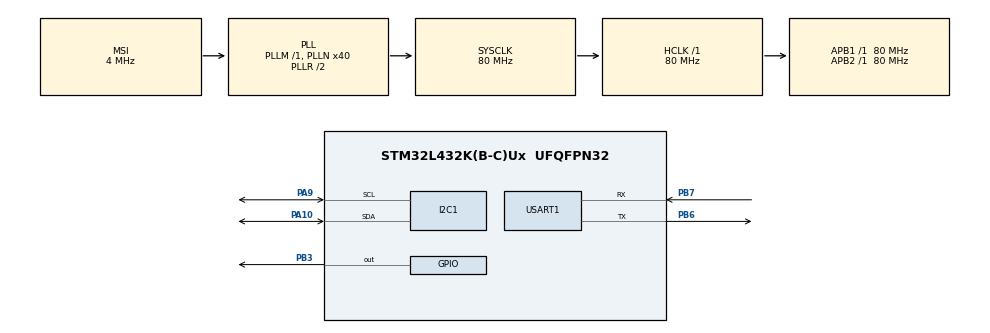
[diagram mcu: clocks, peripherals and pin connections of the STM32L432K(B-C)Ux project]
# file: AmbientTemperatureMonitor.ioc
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I2C1.Timing=0x10909CEC
Mcu.Family=STM32L4
Mcu.Name=STM32L432K(B-C)Ux
Mcu.Package=UFQFPN32
NVIC.PriorityGroup=NVIC_PRIORITYGROUP_4
PA10.Mode=I2C
PA10.Signal=I2C1_SDA
PA13\ (JTMS-SWDIO).Mode=Serial_Wire
PA13\ (JTMS-SWDIO).Signal=SYS_JTMS-SWDIO
PA14\ (JTCK-SWCLK).Mode=Serial_Wire
PA14\ (JTCK-SWCLK).Signal=SYS_JTCK-SWCLK
PA9.Mode=I2C
PA9.Signal=I2C1_SCL
PB3\ (JTDO-TRACESWO).Signal=GPIO_Output
PB6.Mode=Asynchronous
PB6.Signal=USART1_TX
PB7.Mode=Asynchronous
PB7.Signal=USART1_RX
ProjectManager.HeapSize=0x200
ProjectManager.StackSize=0x400
ProjectManager.TargetToolchain=MDK-ARM V5
RCC.AHBFreq_Value=80000000
RCC.APB1Freq_Value=80000000
RCC.APB1TimFreq_Value=80000000
RCC.APB2Freq_Value=80000000
RCC.APB2TimFreq_Value=80000000
RCC.CortexFreq_Value=80000000
RCC.HCLKFreq_Value=80000000
RCC.HSE_VALUE=8000000
RCC.HSI48_VALUE=48000000
RCC.HSI_VALUE=16000000
RCC.LSE_VALUE=32768
RCC.MSI_VALUE=4000000
RCC.PLLN=40
RCC.SYSCLKFreq_VALUE=80000000
RCC.SYSCLKSource=RCC_SYSCLKSOURCE_PLLCLK
RCC.VCOOutputFreq_Value=160000000
USART1.VirtualMode-Asynchronous=VM_ASYNC
board=custom

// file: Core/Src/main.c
/* USER CODE BEGIN Header */
/**
  ******************************************************************************
  * @file           : main.c
  * @brief          : Main program body
  ******************************************************************************
  * @attention
  *
  * <h2><center>&copy; Copyright (c) 2021 STMicroelectronics.
  * All rights reserved.</center></h2>
  *
  * This software component is licensed by ST under BSD 3-Clause license,
  * the "License"; You may not use this file except in compliance with the
  * License. You may obtain a copy of the License at:
  *                        opensource.org/licenses/BSD-3-Clause
  *
  ******************************************************************************
  */
/* USER CODE END Header */
#include "main.h"

/* USER CODE BEGIN Includes */
#include "stdlib.h"
/* USER CODE END Includes */

/* USER CODE BEGIN PTD */
/* USER CODE BEGIN PTD */
typedef struct queueNode
{
    void (*que_funcPointer)(void);
    int que_priority;
    struct queueNode* next;
} readyQueueNode;
typedef struct queue2Node
{
    void (*que_funcPointer)(void);
    int ticks;
    struct queue2Node* next;
} delayedQueueNode;
/* USER CODE END PTD */

I2C_HandleTypeDef hi2c1;

UART_HandleTypeDef huart1;

/* USER CODE BEGIN PV */
/*Queue Pointers*/
readyQueueNode ** queueHead_ptr = NULL;
readyQueueNode * queueHead = NULL;
delayedQueueNode ** delayedqueueHead_ptr = NULL;
delayedQueueNode * delayedqueueHead = NULL;
/* USER CODE END PV */

void SystemClock_Config(void);
static void MX_GPIO_Init(void);
static void MX_I2C1_Init(void);
static void MX_USART1_UART_Init(void);
/* USER CODE BEGIN PFP */
/*APIs declaration*/
void Init(void);
void QueTask(void (*funcPointer)(void),int priority);
void dispatch (void);
void ReRunMe(int tick);
/*Queue functions declaration*/
void readyQueueInsertNewTask(void (*funcPointer)(void),int priority);
void delayQueueInsertNewTask(void (*funcPointer)(void),int ticks);
void delayQueueTickDec (int ticks_counter);
/* Tasks declaration */
void Temp(void);
void TempThreshold(void);
/* USER CODE END PFP */

/* USER CODE BEGIN 0 */
/*Array of Pointers to tasks functions*/
void (*tasks_ptr[])(void)={&Temp,&TempThreshold};
uint8_t tempThreshold [3];
uint8_t buffer;
/* USER CODE END 0 */

int main(void)
{

  /* MCU Configuration--------------------------------------------------------*/

  /* Reset of all peripherals, Initializes the Flash interface and the Systick. */
  HAL_Init();

  /* Configure the system clock */
  SystemClock_Config();

  /* Initialize all configured peripherals */
  MX_GPIO_Init();
  MX_I2C1_Init();
  MX_USART1_UART_Init();
  /* USER CODE BEGIN 2 */
	Init();
  /* USER CODE END 2 */

  /* Infinite loop */
  while (1)
  {

    /* USER CODE BEGIN 3 */
		dispatch();
  }
  /* USER CODE END 3 */
}

void SystemClock_Config(void)
{
  RCC_OscInitTypeDef RCC_OscInitStruct = {0};
  RCC_ClkInitTypeDef RCC_ClkInitStruct = {0};
  RCC_PeriphCLKInitTypeDef PeriphClkInit = {0};

  /** Initializes the RCC Oscillators according to the specified parameters
  * in the RCC_OscInitTypeDef structure.
  */
  RCC_OscInitStruct.OscillatorType = RCC_OSCILLATORTYPE_MSI;
  RCC_OscInitStruct.MSIState = RCC_MSI_ON;
  RCC_OscInitStruct.MSICalibrationValue = 0;
  RCC_OscInitStruct.MSIClockRange = RCC_MSIRANGE_6;
  RCC_OscInitStruct.PLL.PLLState = RCC_PLL_ON;
  RCC_OscInitStruct.PLL.PLLSource = RCC_PLLSOURCE_MSI;
  RCC_OscInitStruct.PLL.PLLM = 1;
  RCC_OscInitStruct.PLL.PLLN = 40;
  RCC_OscInitStruct.PLL.PLLP = RCC_PLLP_DIV7;
  RCC_OscInitStruct.PLL.PLLQ = RCC_PLLQ_DIV2;
  RCC_OscInitStruct.PLL.PLLR = RCC_PLLR_DIV2;
  if (HAL_RCC_OscConfig(&RCC_OscInitStruct) != HAL_OK)
  {
    Error_Handler();
  }
  /** Initializes the CPU, AHB and APB buses clocks
  */
  RCC_ClkInitStruct.ClockType = RCC_CLOCKTYPE_HCLK|RCC_CLOCKTYPE_SYSCLK
                              |RCC_CLOCKTYPE_PCLK1|RCC_CLOCKTYPE_PCLK2;
  RCC_ClkInitStruct.SYSCLKSource = RCC_SYSCLKSOURCE_PLLCLK;
  RCC_ClkInitStruct.AHBCLKDivider = RCC_SYSCLK_DIV1;
  RCC_ClkInitStruct.APB1CLKDivider = RCC_HCLK_DIV1;
  RCC_ClkInitStruct.APB2CLKDivider = RCC_HCLK_DIV1;

  if (HAL_RCC_ClockConfig(&RCC_ClkInitStruct, FLASH_LATENCY_4) != HAL_OK)
  {
    Error_Handler();
  }
  PeriphClkInit.PeriphClockSelection = RCC_PERIPHCLK_USART1|RCC_PERIPHCLK_I2C1;
  PeriphClkInit.Usart1ClockSelection = RCC_USART1CLKSOURCE_PCLK2;
  PeriphClkInit.I2c1ClockSelection = RCC_I2C1CLKSOURCE_PCLK1;
  if (HAL_RCCEx_PeriphCLKConfig(&PeriphClkInit) != HAL_OK)
  {
    Error_Handler();
  }
  /** Configure the main internal regulator output voltage
  */
  if (HAL_PWREx_ControlVoltageScaling(PWR_REGULATOR_VOLTAGE_SCALE1) != HAL_OK)
  {
    Error_Handler();
  }
}

static void MX_I2C1_Init(void)
{

  hi2c1.Instance = I2C1;
  hi2c1.Init.Timing = 0x10909CEC;
  hi2c1.Init.OwnAddress1 = 0;
  hi2c1.Init.AddressingMode = I2C_ADDRESSINGMODE_7BIT;
  hi2c1.Init.DualAddressMode = I2C_DUALADDRESS_DISABLE;
  hi2c1.Init.OwnAddress2 = 0;
  hi2c1.Init.OwnAddress2Masks = I2C_OA2_NOMASK;
  hi2c1.Init.GeneralCallMode = I2C_GENERALCALL_DISABLE;
  hi2c1.Init.NoStretchMode = I2C_NOSTRETCH_DISABLE;
  if (HAL_I2C_Init(&hi2c1) != HAL_OK)
  {
    Error_Handler();
  }
  /** Configure Analogue filter
  */
  if (HAL_I2CEx_ConfigAnalogFilter(&hi2c1, I2C_ANALOGFILTER_ENABLE) != HAL_OK)
  {
    Error_Handler();
  }
  /** Configure Digital filter
  */
  if (HAL_I2CEx_ConfigDigitalFilter(&hi2c1, 0) != HAL_OK)
  {
    Error_Handler();
  }

}

static void MX_USART1_UART_Init(void)
{

  huart1.Instance = USART1;
  huart1.Init.BaudRate = 115200;
  huart1.Init.WordLength = UART_WORDLENGTH_8B;
  huart1.Init.StopBits = UART_STOPBITS_1;
  huart1.Init.Parity = UART_PARITY_NONE;
  huart1.Init.Mode = UART_MODE_TX_RX;
  huart1.Init.HwFlowCtl = UART_HWCONTROL_NONE;
  huart1.Init.OverSampling = UART_OVERSAMPLING_16;
  huart1.Init.OneBitSampling = UART_ONE_BIT_SAMPLE_DISABLE;
  huart1.AdvancedInit.AdvFeatureInit = UART_ADVFEATURE_NO_INIT;
  if (HAL_UART_Init(&huart1) != HAL_OK)
  {
    Error_Handler();
  }

}

static void MX_GPIO_Init(void)
{
  GPIO_InitTypeDef GPIO_InitStruct = {0};

  /* GPIO Ports Clock Enable */
  __HAL_RCC_GPIOA_CLK_ENABLE();
  __HAL_RCC_GPIOB_CLK_ENABLE();

  /*Configure GPIO pin Output Level */
  HAL_GPIO_WritePin(GPIOB, GPIO_PIN_3, GPIO_PIN_RESET);

  /*Configure GPIO pin : PB3 */
  GPIO_InitStruct.Pin = GPIO_PIN_3;
  GPIO_InitStruct.Mode = GPIO_MODE_OUTPUT_PP;
  GPIO_InitStruct.Pull = GPIO_NOPULL;
  GPIO_InitStruct.Speed = GPIO_SPEED_FREQ_LOW;
  HAL_GPIO_Init(GPIOB, &GPIO_InitStruct);

}

/* USER CODE BEGIN 4 */
/**@brief APIs Definition
	*/

void Init(void)
{
		HAL_SYSTICK_Config(0x3D08CE);//79999*50
		QueTask(tasks_ptr[0],2);
		QueTask(tasks_ptr[1],1);
}

void QueTask(void (*funcPointer)(void),int priority)
{
	/*Check Task priority Valid or Not and Fix it
		priority>8 is assigned loweest priority "=8"
		priority <0 assigned Highest priority "=0" */
	if(priority <0)
		priority = 0;
	else if(priority >8)
		priority = 8;
	/*Adding Task to the Queue*/
	readyQueueInsertNewTask(funcPointer,priority);
}

void dispatch (void)
{
	void (*DoTask)(void);
	if(queueHead!=NULL)
	{
		readyQueueNode* temp = *queueHead_ptr;
		DoTask = temp -> que_funcPointer;
		DoTask();
		(*queueHead_ptr) = (*queueHead_ptr)->next;
		free(temp);
	}
}

void readyQueueInsertNewTask(void (*funcPointer)(void),int priority)
{
	//First Node
	if(queueHead == NULL)
	{
		/*Creating First Node*/
		queueHead = (readyQueueNode*)malloc(sizeof(readyQueueNode));
		queueHead-> que_funcPointer = funcPointer;
		queueHead-> que_priority = priority;
		queueHead-> next = NULL;
		queueHead_ptr = &queueHead;
	}
	else
	{
		/*Creating Node*/
		readyQueueNode* temp = (readyQueueNode*)malloc(sizeof(readyQueueNode));
		temp-> que_funcPointer = funcPointer;
		temp-> que_priority = priority;
		temp-> next = NULL;

		/*Adding to queue According to Priority*/
		/*If new task has a higher priority than highest priority task in the queue switch them*/
		if (queueHead->que_priority > priority)
		{
			temp->next = *queueHead_ptr;
			*queueHead_ptr = temp;
		}
		else
		{
			readyQueueNode* queueStart = (*queueHead_ptr);
			/*If new task has a lower priority travarse the queue and add the task according to its priority*/
			while (queueStart->next != NULL && queueStart->next->que_priority < priority)
					queueStart = queueStart->next;
			temp->next = queueStart->next;
			queueStart->next = temp;
		}
	}
}

void delayQueueInsertNewTask(void (*funcPointer)(void),int ticks)
{
	//First Node
	if(delayedqueueHead == NULL)
	{
		/*Creating First Node*/
		delayedqueueHead = (delayedQueueNode*)malloc(sizeof(delayedQueueNode));
		delayedqueueHead-> que_funcPointer = funcPointer;
		delayedqueueHead-> ticks = ticks;
		delayedqueueHead-> next = NULL;
		delayedqueueHead_ptr = &delayedqueueHead;
	}
	else
	{
		/*Creating Node*/
		delayedQueueNode* temp = (delayedQueueNode*)malloc(sizeof(delayedQueueNode));
		temp-> que_funcPointer = funcPointer;
		temp-> ticks = ticks;
		temp-> next = NULL;

		/*Adding to queue According to Priority*/
		/*If new task has a higher priority than highest priority task in the queue switch them*/
		if (delayedqueueHead->ticks > ticks)
		{
			temp-> next = *delayedqueueHead_ptr;
			*delayedqueueHead_ptr = temp;
		}
		else
		{
			delayedQueueNode* queueStart = (*delayedqueueHead_ptr);
			/*If new task has a lower priority travarse the queue and add the task according to its priority*/
			while (queueStart->next != NULL && queueStart->next->ticks < ticks)
					queueStart = queueStart->next;
			temp->next = queueStart->next;
			queueStart->next = temp;
		}
	}
}
void delayQueueTickDec (int ticks_counter)
{
	delayedQueueNode* temp = delayedqueueHead;
	while(temp != NULL)
	{
		temp->ticks-=ticks_counter;
		if(temp->ticks==0)
		{
			QueTask(temp->que_funcPointer,0);
			delayedQueueNode* remove = *delayedqueueHead_ptr;
			(*delayedqueueHead_ptr) = (*delayedqueueHead_ptr)->next;
			free(remove);
		}
		temp=temp->next;
	}
	free(temp);
	ticks_counter=0;
}
void ReRunMe(int tick)
{
	if(tick==0)
		QueTask(queueHead->que_funcPointer,queueHead->que_priority);
	else
		delayQueueInsertNewTask(queueHead->que_funcPointer,tick);

}
/**@brief Tasks Initialization
	*/
void Temp(void)
{
	uint8_t controlRegister[2],statusRegister[2],tempUpperByte[2],tempLowerByte[2];
	//Registers config
	statusRegister [0]=0x0F;
	statusRegister [1]=0x00;
	controlRegister[0]=0x0E;
	controlRegister[1]=0x00;
	tempUpperByte[0]=0x11;
	tempUpperByte[1]=0x00;
	tempLowerByte[0]=0x12;
	tempLowerByte[1]=0x00;
	//Receive via I2C and forward to UART
	uint8_t out[] = {'+',0,0,'.',0,0,'°','C','\r','\n'};
	HAL_I2C_Master_Transmit(&hi2c1, 0xD1, statusRegister, 1, 10);
	HAL_I2C_Master_Receive(&hi2c1, 0xD1, statusRegister+1, 1, 10);
	if((statusRegister[1]&0x04) != 0x01)
	{
		HAL_I2C_Master_Receive(&hi2c1, 0xD1, controlRegister, 1, 10);
		controlRegister[1]=controlRegister[1]|0x20;
		HAL_I2C_Master_Transmit(&hi2c1, 0xD0, controlRegister, 1, 10);
		HAL_I2C_Master_Transmit(&hi2c1, 0xD0, tempUpperByte, 1, 10);
		HAL_I2C_Master_Receive(&hi2c1, 0xD1, tempUpperByte+1, 1, 10);
		HAL_I2C_Master_Transmit(&hi2c1, 0xD0, tempLowerByte, 1, 10);
		HAL_I2C_Master_Receive(&hi2c1, 0xD1, tempLowerByte+1, 1, 10);
		if((tempUpperByte[1]>>7)&0x01) out[0] = '-'; else out[0] = '+';
		out[1]=tempUpperByte[1]&0x7F;
		out[4]=25*(tempLowerByte[1]>>6);
		if(out[1]/10!=0)
		{
			out[2]=out[1]%10+'0';
			out[1]=out[1]/10+'0';
		}
		else
		{
			out[2]=out[1]+'0';
			out[1]=0+'0';
		}
		if(out[4]/10!=0)
		{
			out[5]=out[4]%10+'0';
			out[4]=out[4]/10+'0';
		}
		else
		{
			out[5]=out[4]+'0';
			out[4]=0+'0';
		}
		// transmit temp to UART
		HAL_UART_Transmit(&huart1,(uint8_t*) "\n\rCurrent Temprature is: ",25, 10);
		HAL_UART_Transmit(&huart1,out, sizeof(out), 10);
		if(out[0]<=tempThreshold[0] && out[1]>=tempThreshold[1] && out[2]>=tempThreshold[2])
		{
			HAL_UART_Transmit(&huart1,(uint8_t*) "\n\rWARNING!! Temp EXCEDDED THE TEMP THRESHOLD!!\n",48, 10);
			for(int i=0;i<10;i=i+1)
			{
				HAL_GPIO_TogglePin(GPIOB, GPIO_PIN_3);
				HAL_Delay(5);
			}
		}
		ReRunMe(600);
	}
}
void TempThreshold(void)
{
	HAL_UART_Transmit(&huart1,(uint8_t*)"\n\rEnter Your temp Threshold ", 28, 10);
	for(int i=0;i<3;i=i+1)
	{
		HAL_UART_Receive(&huart1,&buffer, sizeof(buffer), HAL_MAX_DELAY);
		tempThreshold[i]=buffer;
	}

}
/* USER CODE END 4 */

void Error_Handler(void)
{
  __disable_irq();
  while (1)
  {
  }
}

/************************ (C) COPYRIGHT STMicroelectronics *****END OF FILE****/
